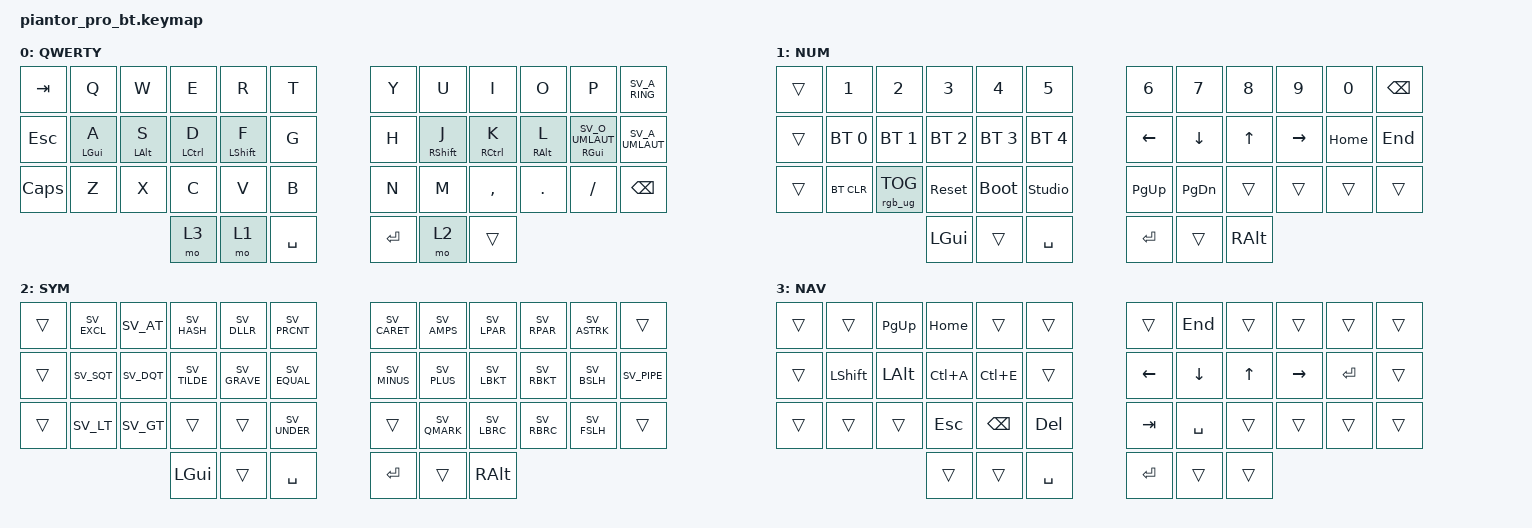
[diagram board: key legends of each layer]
 /*
  * Copyright (c) 2020 The ZMK Contributors
  *
  * SPDX-License-Identifier: MIT
   */

   #include <behaviors.dtsi>
   #include <dt-bindings/zmk/keys.h>
   #include <dt-bindings/zmk/bt.h>
   #include <dt-bindings/zmk/rgb.h>
   #include <locale/keys_sv.h>

  / {
  chosen {
  zmk,physical-layout = &default_layout;
 };
 };
  
  
  
  
  
  
  
  
  / {
  
  
  behaviors {
 hml: home_row_mod_left {
  compatible = "zmk,behavior-hold-tap";
   #binding-cells = <2>;
  flavor = "balanced";
  require-prior-idle-ms = <150>;
  tapping-term-ms = <280>;
  quick-tap-ms = <175>;
  bindings = <&kp>, <&kp>;
  hold-trigger-key-positions = <6 7 8 9 10 11 18 19 20 21 22 23 30 31 32 33 34 35>;
  hold-trigger-on-release;
 };
 hmr: home_row_mod_right {
  compatible = "zmk,behavior-hold-tap";
   #binding-cells = <2>;
  flavor = "balanced";
  require-prior-idle-ms = <150>;
  tapping-term-ms = <280>;
  quick-tap-ms = <175>;
  bindings = <&kp>, <&kp>;
  hold-trigger-key-positions = <0 1 2 3 4 5 12 13 14 25 16 17 24 25 26 27 28 29>;
  hold-trigger-on-release;
 };
 };
   
   
   
   combos {
   compatible = "zmk,combos";
   
   // ---------- Single-hand (same side), adjacent keys ----------
   // Top row
   combo_we_fslh {
   timeout-ms = <50>; layers = <0>;
   key-positions = <2 3>;
   bindings = <&kp SV_FSLH>;   // "/"
   };
   combo_er_lbrc {
   timeout-ms = <50>; layers = <0>;
   key-positions = <3 4>;
   bindings = <&kp SV_LBRC>;   // "{"
   };
   
   // Top row (right)
   combo_ui_rbrc {
   timeout-ms = <50>; layers = <0>;
   key-positions = <7 8>;
   bindings = <&kp SV_RBRC>;   // "}"
   };
   combo_io_bslh {
   timeout-ms = <50>; layers = <0>;
   key-positions = <8 9>;
   bindings = <&kp SV_BSLH>;   // "\"
   };
   
   // Home row (left/right)
   combo_sd_lt {
   timeout-ms = <50>; layers = <0>;
   key-positions = <14 15>;
   bindings = <&kp SV_LT>;     // "<"
   };
   combo_df_lpar {
   timeout-ms = <50>; layers = <0>;
   key-positions = <15 16>;
   bindings = <&kp SV_LPAR>;   // "("
   };
   combo_jk_rpar {
   timeout-ms = <50>; layers = <0>;
   key-positions = <19 20>;
   bindings = <&kp SV_RPAR>;   // ")"
   };
   combo_kl_gt {
   timeout-ms = <50>; layers = <0>;
   key-positions = <20 21>;
   bindings = <&kp SV_GT>;     // ">"
   };
   
   // Bottom row (left/right)
   combo_xc_caret {
   timeout-ms = <50>; layers = <0>;
   key-positions = <26 27>;
   bindings = <&kp SV_CARET>;  // "^"
   };
   combo_cv_lbkt {
   timeout-ms = <50>; layers = <0>;
   key-positions = <27 28>;
   bindings = <&kp SV_LBKT>;   // "["
   };
   combo_commadot_rbkt {
   timeout-ms = <50>; layers = <0>;
   key-positions = <31 32>;
   bindings = <&kp SV_RBKT>;   // "]"
   };
   combo_mcomma_dollar {
   timeout-ms = <50>; layers = <0>;
   key-positions = <32 33>;
   bindings = <&kp SV_DOLLAR>; // "$"
   };
   
   // ---------- Dual-side (mirrored) ----------
   // Top row
   combo_wo_asterisk {
   timeout-ms = <50>; layers = <0>;
   key-positions = <2 9>;
   bindings = <&kp SV_ASTRK>;  // "*"
   };
   combo_ei_question {
   timeout-ms = <50>; layers = <0>;
   key-positions = <3 8>;
   bindings = <&kp SV_QMARK>;   // "?"
   };
   combo_ru_exclam {
   timeout-ms = <50>; layers = <0>;
   key-positions = <4 7>;
   bindings = <&kp SV_EXCL>;   // "!"
   };
   combo_ty_at {
   timeout-ms = <50>; layers = <0>;
   key-positions = <5 6>;
   bindings = <&kp SV_AT>;     // "@"
   };
   
   // Home row
   combo_aodia_percent {
   timeout-ms = <50>; layers = <0>;
   key-positions = <13 22>;
   bindings = <&kp SV_PERCENT>; // "%"
   };
   combo_sl_equal {
   timeout-ms = <50>; layers = <0>;
   key-positions = <14 21>;
   bindings = <&kp SV_EQUAL>;   // "="
   };
   combo_dk_sqt {
   timeout-ms = <50>; layers = <0>;
   key-positions = <15 20>;
   bindings = <&kp SV_SQT>;     // "'"
   };
   combo_fj_dqt {
   timeout-ms = <50>; layers = <0>;
   key-positions = <16 19>;
   bindings = <&kp SV_DQT>;     // "\"\"" (double quote)
   };
   combo_gh_amp {
   timeout-ms = <50>; layers = <0>;
   key-positions = <17 18>;
   bindings = <&kp SV_AMPS>;     // "&"
   };
   
   // Bottom row
   combo_zminus_tilde {
   timeout-ms = <50>; layers = <0>;
   key-positions = <25 34>;
   bindings = <&kp SV_TILDE>;   // "~"
   };
   combo_xdot_plus {
   timeout-ms = <50>; layers = <0>;
   key-positions = <26 33>;
   bindings = <&kp SV_PLUS>;    // "+"
   };
   combo_ccomma_grave {
   timeout-ms = <50>; layers = <0>;
   key-positions = <27 32>;
   bindings = <&kp SV_GRAVE>;   // "`"
   };
   combo_vm_pipe {
   timeout-ms = <50>; layers = <0>;
   key-positions = <28 31>;
   bindings = <&kp SV_PIPE>;    // "|"
   };
   combo_bn_hash {
   timeout-ms = <50>; layers = <0>;
   key-positions = <29 30>;
   bindings = <&kp SV_HASH>;    // "#"
   };
 };
   
   
   
  
  
  
  
  
  
  keymap {
  compatible = "zmk,keymap";
  
  
  
  
  default_layer {
  display-name = "QWERTY";
  
  bindings = <
  &kp TAB  &kp Q       &kp W       &kp E        &kp R        &kp T  &kp Y   &kp U        &kp I        &kp O       &kp P                 &kp SV_A_RING
  &kp ESC  &hml LGUI A &hml LALT S &hml LCTRL D &hml LSHFT F &kp G  &kp H   &hmr RSHFT J &hmr RCTRL K &hmr RALT L &hmr RGUI SV_O_UMLAUT &kp SV_A_UMLAUT
  &kp CAPS &kp Z       &kp X       &kp C        &kp V        &kp B                &kp N   &kp M        &kp COMMA    &kp DOT     &kp FSLH              &kp BSPC
  &mo 3       &mo 1         &kp SPACE            &kp RET &mo 2        &trans
  >;
 };
  
  lower_layer {
  
  display-name = "NUM";
  bindings = <
  &trans &kp N1        &kp N2        &kp N3       &kp N4       &kp N5         &kp N6      &kp N7      &kp N8      &kp N9      &kp N0      &kp BSPC
  &trans &bt BT_SEL 0  &bt BT_SEL 1  &bt BT_SEL 2 &bt BT_SEL 3 &bt BT_SEL 4   &kp LEFT    &kp DOWN    &kp UP      &kp RIGHT   &kp HOME    &kp END
  &trans &bt BT_CLR    &rgb_ug RGB_TOG &sys_reset &bootloader  &studio_unlock                 &kp PG_UP   &kp PG_DN   &trans      &trans      &trans      &trans
  &kp LGUI     &trans        &kp SPACE                         &kp RET     &trans      &kp RALT
  >;
 };
  
  raise_layer {
  display-name = "SYM";
  
  
  bindings = <
  &trans &kp SV_EXCL   &kp SV_AT     &kp SV_HASH   &kp SV_DLLR   &kp SV_PRCNT   &kp SV_CARET  &kp SV_AMPS   &kp SV_LPAR  &kp SV_RPAR  &kp SV_ASTRK  &trans
  &trans &kp SV_SQT    &kp SV_DQT    &kp SV_TILDE  &kp SV_GRAVE  &kp SV_EQUAL   &kp SV_MINUS  &kp SV_PLUS   &kp SV_LBKT  &kp SV_RBKT  &kp SV_BSLH   &kp SV_PIPE
  &trans &kp SV_LT     &kp SV_GT     &trans        &trans        &kp SV_UNDER                &trans        &kp SV_QMARK  &kp SV_LBRC  &kp SV_RBRC  &kp SV_FSLH   &trans
  &kp LGUI  &trans        &kp SPACE                          &kp RET       &trans       &kp RALT
  >;
 };
  
  extra_layer_1 {
  display-name = "NAV";
  
  
  bindings = <
  &trans    &trans   &kp PG_UP   &kp HOME  &trans    &trans      &trans   &kp END   &trans   &trans   &trans   &trans
  &trans    &kp LSHFT &kp LALT &kp LC(A)   &kp LC(E) &trans      &kp LEFT  &kp DOWN  &kp UP   &kp RIGHT &kp RET  &trans
  &trans    &trans   &trans      &kp ESC   &kp BSPC  &kp DEL                       &kp TAB  &kp SPACE &trans     &trans   &trans   &trans
  &trans    &trans   &kp SPACE                       &kp RET  &trans   &trans
  >;
 };


 };
 };
